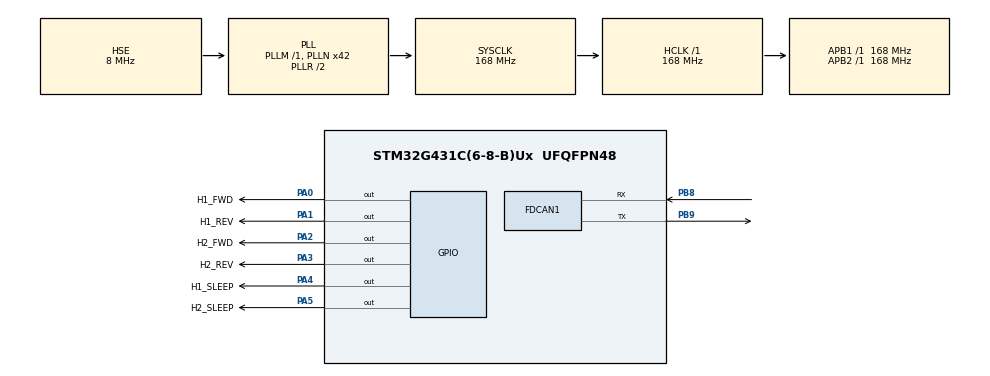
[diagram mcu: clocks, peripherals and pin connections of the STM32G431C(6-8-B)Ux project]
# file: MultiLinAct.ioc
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FDCAN1.CalculateBaudRateNominal=3500000
FDCAN1.CalculateTimeBitNominal=285
FDCAN1.CalculateTimeQuantumNominal=95.23809523809524
Mcu.Family=STM32G4
Mcu.Name=STM32G431C(6-8-B)Ux
Mcu.Package=UFQFPN48
NVIC.PriorityGroup=NVIC_PRIORITYGROUP_4
PA0.GPIO_Label=H1_FWD
PA0.Signal=GPIO_Output
PA1.GPIO_Label=H1_REV
PA1.Signal=GPIO_Output
PA13.Mode=Trace_Asynchronous_SW
PA13.Signal=SYS_JTMS-SWDIO
PA14.Mode=Trace_Asynchronous_SW
PA14.Signal=SYS_JTCK-SWCLK
PA2.GPIO_Label=H2_FWD
PA2.Signal=GPIO_Output
PA3.GPIO_Label=H2_REV
PA3.Signal=GPIO_Output
PA4.GPIO_Label=H1_SLEEP
PA4.Signal=GPIO_Output
PA5.GPIO_Label=H2_SLEEP
PA5.Signal=GPIO_Output
PB3.Mode=Trace_Asynchronous_SW
PB3.Signal=SYS_JTDO-SWO
PB8-BOOT0.Mode=FDCAN_Activate
PB8-BOOT0.Signal=FDCAN1_RX
PB9.Mode=FDCAN_Activate
PB9.Signal=FDCAN1_TX
PF0-OSC_IN.Mode=HSE-External-Oscillator
PF0-OSC_IN.Signal=RCC_OSC_IN
PF1-OSC_OUT.Mode=HSE-External-Oscillator
PF1-OSC_OUT.Signal=RCC_OSC_OUT
ProjectManager.HeapSize=0x200
ProjectManager.StackSize=0x400
ProjectManager.TargetToolchain=STM32CubeIDE
RCC.ADC12Freq_Value=168000000
RCC.AHBFreq_Value=168000000
RCC.APB1Freq_Value=168000000
RCC.APB1TimFreq_Value=168000000
RCC.APB2Freq_Value=168000000
RCC.APB2TimFreq_Value=168000000
RCC.CK48CLockSelection=RCC_USBCLKSOURCE_HSI48
RCC.CortexFreq_Value=168000000
RCC.EXTERNAL_CLOCK_VALUE=12288000
RCC.HCLKFreq_Value=168000000
RCC.HSE_VALUE=8000000
RCC.HSI48_VALUE=48000000
RCC.HSI_VALUE=16000000
RCC.LSE_VALUE=32768
RCC.PLLN=42
RCC.PLLSourceVirtual=RCC_PLLSOURCE_HSE
RCC.SYSCLKFreq_VALUE=168000000
RCC.SYSCLKSource=RCC_SYSCLKSOURCE_PLLCLK
RCC.USBFreq_Value=48000000
RCC.VCOOutputFreq_Value=336000000
TIM2.PeriodNoDither=8499
VP_SYS_VS_DBSignals.Mode=DisableDeadBatterySignals
VP_TIM2_VS_ClockSourceINT.Mode=Internal
board=custom

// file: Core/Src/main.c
/* USER CODE BEGIN Header */
/**
  ******************************************************************************
  * @file           : main.c
  * @brief          : Stewart Platform ECU - Controls 2 linear actuators via GPIO
  *                   Communicates over CAN (ID 0x100 commands, 0x101 status)
  ******************************************************************************
*/
/* USER CODE END Header */
#include "main.h"
#include "usb_device.h"

/* USER CODE BEGIN Includes */
#include <stdbool.h>
#include "usbd_cdc_if.h"
#include <stdarg.h>
#include <string.h>

static void debug_printf(const char *fmt, ...)
{
    char buf[256];

    va_list args;
    va_start(args, fmt);
    int len = vsnprintf(buf, sizeof(buf), fmt, args);
    va_end(args);

    if (len <= 0) return;
    if (len > sizeof(buf)) len = sizeof(buf);

    CDC_Transmit_FS((uint8_t*)buf, len);
}

/* USER CODE END Includes */

/* USER CODE BEGIN PTD */

typedef struct {
    int8_t   dir;          // -1 = retract, +1 = extend, 0 = no move
    uint32_t duration_ms;
} MoveCmd_t;

/* USER CODE END PTD */

FDCAN_HandleTypeDef hfdcan1;

TIM_HandleTypeDef htim2;

/* USER CODE BEGIN PV */

MoveCmd_t cmd[2] = {{0,0}, {0,0}};
volatile bool prepared = false;
volatile bool motion_active = false;
uint32_t motion_start_tick = 0;

// CAN TX helper
FDCAN_TxHeaderTypeDef TxHeader;
uint8_t txData[8];

/* USER CODE END PV */

void SystemClock_Config(void);
static void MX_GPIO_Init(void);
static void MX_FDCAN1_Init(void);
static void MX_TIM2_Init(void);
/* USER CODE BEGIN PFP */

typedef enum {
    MOTOR_STATE_COAST,
    MOTOR_STATE_FORWARD,
    MOTOR_STATE_REVERSE,
    MOTOR_STATE_BRAKE
} Motor_State_t;

void Motor1_Control(Motor_State_t state);
void Motor2_Control(Motor_State_t state);
void Motor1_Sleep(uint8_t sleep);
void Motor2_Sleep(uint8_t sleep);
void SendStatus(uint8_t code);

/* USER CODE END PFP */

int main(void)
{

  /* MCU Configuration--------------------------------------------------------*/

  /* Reset of all peripherals, Initializes the Flash interface and the Systick. */
  HAL_Init();

  /* Configure the system clock */
  SystemClock_Config();

  /* Initialize all configured peripherals */
  MX_GPIO_Init();
  MX_FDCAN1_Init();
  MX_TIM2_Init();
  MX_USB_Device_Init();
  /* USER CODE BEGIN 2 */

  // Start with drivers asleep and coasting
  Motor1_Sleep(1);
  Motor2_Sleep(1);

  // Start FDCAN and enable RX FIFO0 new message interrupt
  if (HAL_FDCAN_Start(&hfdcan1) != HAL_OK)
  {
      Error_Handler();
  }

  debug_printf("FDCAN1 started\r\n");

  if (HAL_FDCAN_ActivateNotification(&hfdcan1,
                                     FDCAN_IT_RX_FIFO0_NEW_MESSAGE,
                                     0) != HAL_OK)
  {
      Error_Handler();
  }

  debug_printf("FDCAN1 RX FIFO0 interrupt enabled\r\n");

  /* USER CODE END 2 */

  /* Infinite loop */
  /* USER CODE BEGIN WHILE */
  while (1)
  {
	// ======= NEW: Poll CAN RX FIFO0 for commands =======
	uint32_t fillLevel = HAL_FDCAN_GetRxFifoFillLevel(&hfdcan1, FDCAN_RX_FIFO0);
	if (fillLevel > 0)
	{
	  FDCAN_RxHeaderTypeDef RxHeader;
	  uint8_t rxData[8];

	  if (HAL_FDCAN_GetRxMessage(&hfdcan1, FDCAN_RX_FIFO0, &RxHeader, rxData) == HAL_OK)
	  {
		  // 🔹 NEW: compute DLC once, and log what we actually received
		  uint32_t dlc_bytes = RxHeader.DataLength >> 16;

		  debug_printf("[CAN] RX ID=0x%03lX, IdType=%lu, FrameType=%lu, DLC=%lu\r\n",
					   RxHeader.Identifier,
					   (unsigned long)RxHeader.IdType,
					   (unsigned long)RxHeader.RxFrameType,
					   dlc_bytes);

		  debug_printf("[CAN] Data bytes:");
		  for (uint32_t i = 0; i < 8; i++)    // log all 8 slots
		  {
			  char tmp[8];
			  snprintf(tmp, sizeof(tmp), " %02X", rxData[i]);
			  debug_printf("%s", tmp);
		  }
		  debug_printf("\r\n");

		  // Only handle standard data frames on ID 0x100
		  // ===================== CAN RX =====================
		  if (RxHeader.IdType == FDCAN_STANDARD_ID &&
		      RxHeader.RxFrameType == FDCAN_DATA_FRAME &&
		      RxHeader.Identifier == 0x100)
		  {
		      uint32_t dlc_bytes_inner = RxHeader.DataLength >> 16;

		      debug_printf("[CAN] RX ID=0x%03lX, DLC=%lu\r\n",
		                   RxHeader.Identifier, dlc_bytes_inner);

		      debug_printf("[CAN] Data bytes:");
		      for (int i = 0; i < 8; i++) {
		          char tmp[8];
		          snprintf(tmp, sizeof(tmp), " %02X", rxData[i]);
		          debug_printf("%s", tmp);
		      }
		      debug_printf("\r\n");

		      // ======= START command (first byte = 0xFF) =======
		      if (rxData[0] == 0xFF)
		      {
		          debug_printf("[START] received, prepared=%d\r\n",
		                       prepared ? 1 : 0);

		          if (prepared)
		          {
		              Motor1_Sleep(0);
		              Motor2_Sleep(0);

		              // Motor 1 direction
		              if (cmd[0].dir > 0)
		                  Motor1_Control(MOTOR_STATE_FORWARD);
		              else if (cmd[0].dir < 0)
		                  Motor1_Control(MOTOR_STATE_REVERSE);
		              else
		                  Motor1_Control(MOTOR_STATE_COAST);

		              // Motor 2 direction
		              if (cmd[1].dir > 0)
		                  Motor2_Control(MOTOR_STATE_FORWARD);
		              else if (cmd[1].dir < 0)
		                  Motor2_Control(MOTOR_STATE_REVERSE);
		              else
		                  Motor2_Control(MOTOR_STATE_COAST);

		              if (cmd[0].duration_ms == 0 && cmd[1].duration_ms == 0)
		              {
		                  debug_printf("[START] Zero durations, immediately DONE\r\n");

		                  Motor1_Sleep(1);
		                  Motor2_Sleep(1);
		                  prepared      = false;
		                  motion_active = false;

		                  SendStatus(0x03); // DONE
		              }
		              else
		              {
		                  motion_start_tick = HAL_GetTick();
		                  motion_active     = true;

		                  debug_printf("[START] Motion active: t1=%lu t2=%lu\r\n",
		                               (unsigned long)cmd[0].duration_ms,
		                               (unsigned long)cmd[1].duration_ms);

		                  SendStatus(0x02); // MOVING
		              }
		          }
		          else
		          {
		              debug_printf("[START] Ignored because not prepared\r\n");
		          }
		      }
		      // ======= PREPARE command (first byte != 0xFF) =======
		      else
		      {
		          int8_t d1 = 0;
		          int8_t d2 = 0;

		          // decode dir1
		          switch (rxData[0]) {
		              case 0x01: d1 = +1; break;  // extend
		              case 0x02: d1 = -1; break;  // retract
		              default:   d1 =  0; break;  // stop / unknown
		          }

		          // decode dir2
		          switch (rxData[1]) {
		              case 0x01: d2 = +1; break;  // extend
		              case 0x02: d2 = -1; break;  // retract
		              default:   d2 =  0; break;
		          }

		          uint16_t t1 = (uint16_t)rxData[2] | ((uint16_t)rxData[3] << 8);
		          uint16_t t2 = (uint16_t)rxData[4] | ((uint16_t)rxData[5] << 8);

		          cmd[0].dir         = d1;
		          cmd[0].duration_ms = t1;
		          cmd[1].dir         = d2;
		          cmd[1].duration_ms = t2;

		          prepared      = true;
		          motion_active = false;

		          debug_printf("[PREPARE] d1=%d d2=%d t1=%u t2=%u\r\n",
		                       d1, d2, t1, t2);

		          SendStatus(0x01);  // PREPARED
		      }
		  }
	  }
	}

	if (motion_active)
	{
		uint32_t elapsed = HAL_GetTick() - motion_start_tick;

		if (cmd[0].duration_ms > 0 && elapsed >= cmd[0].duration_ms)
			Motor1_Control(MOTOR_STATE_COAST);

		if (cmd[1].duration_ms > 0 && elapsed >= cmd[1].duration_ms)
			Motor2_Control(MOTOR_STATE_COAST);

		bool all_done = (cmd[0].duration_ms == 0 || elapsed >= cmd[0].duration_ms) &&
						(cmd[1].duration_ms == 0 || elapsed >= cmd[1].duration_ms);

		if (all_done || elapsed > 10000)  // 10s safety timeout
		{
			motion_active = false;
			prepared      = false;

			SendStatus(0x03); // DONE

			Motor1_Sleep(1);
			Motor2_Sleep(1);
		}
	}
    /* USER CODE END WHILE */

  }
}

void SystemClock_Config(void)
{
  RCC_OscInitTypeDef RCC_OscInitStruct = {0};
  RCC_ClkInitTypeDef RCC_ClkInitStruct = {0};

  /** Configure the main internal regulator output voltage
  */
  HAL_PWREx_ControlVoltageScaling(PWR_REGULATOR_VOLTAGE_SCALE1_BOOST);

  /** Initializes the RCC Oscillators according to the specified parameters
  * in the RCC_OscInitTypeDef structure.
  */
  RCC_OscInitStruct.OscillatorType = RCC_OSCILLATORTYPE_HSI48|RCC_OSCILLATORTYPE_HSE;
  RCC_OscInitStruct.HSEState = RCC_HSE_ON;
  RCC_OscInitStruct.HSI48State = RCC_HSI48_ON;
  RCC_OscInitStruct.PLL.PLLState = RCC_PLL_ON;
  RCC_OscInitStruct.PLL.PLLSource = RCC_PLLSOURCE_HSE;
  RCC_OscInitStruct.PLL.PLLM = RCC_PLLM_DIV1;
  RCC_OscInitStruct.PLL.PLLN = 42;
  RCC_OscInitStruct.PLL.PLLP = RCC_PLLP_DIV2;
  RCC_OscInitStruct.PLL.PLLQ = RCC_PLLQ_DIV2;
  RCC_OscInitStruct.PLL.PLLR = RCC_PLLR_DIV2;
  if (HAL_RCC_OscConfig(&RCC_OscInitStruct) != HAL_OK)
  {
    Error_Handler();
  }

  /** Initializes the CPU, AHB and APB buses clocks
  */
  RCC_ClkInitStruct.ClockType = RCC_CLOCKTYPE_HCLK|RCC_CLOCKTYPE_SYSCLK
                              |RCC_CLOCKTYPE_PCLK1|RCC_CLOCKTYPE_PCLK2;
  RCC_ClkInitStruct.SYSCLKSource = RCC_SYSCLKSOURCE_PLLCLK;
  RCC_ClkInitStruct.AHBCLKDivider = RCC_SYSCLK_DIV1;
  RCC_ClkInitStruct.APB1CLKDivider = RCC_HCLK_DIV1;
  RCC_ClkInitStruct.APB2CLKDivider = RCC_HCLK_DIV1;

  if (HAL_RCC_ClockConfig(&RCC_ClkInitStruct, FLASH_LATENCY_4) != HAL_OK)
  {
    Error_Handler();
  }
}

static void MX_FDCAN1_Init(void)
{

  hfdcan1.Instance = FDCAN1;
  hfdcan1.Init.ClockDivider = FDCAN_CLOCK_DIV1;
  hfdcan1.Init.FrameFormat = FDCAN_FRAME_CLASSIC;
  hfdcan1.Init.Mode = FDCAN_MODE_NORMAL;
  hfdcan1.Init.AutoRetransmission = ENABLE;
  hfdcan1.Init.TransmitPause = DISABLE;
  hfdcan1.Init.ProtocolException = DISABLE;
  hfdcan1.Init.NominalPrescaler = 84;
  hfdcan1.Init.NominalSyncJumpWidth = 1;
  hfdcan1.Init.NominalTimeSeg1 = 15;
  hfdcan1.Init.NominalTimeSeg2 = 4;
  hfdcan1.Init.DataPrescaler = 1;
  hfdcan1.Init.DataSyncJumpWidth = 1;
  hfdcan1.Init.DataTimeSeg1 = 1;
  hfdcan1.Init.DataTimeSeg2 = 1;
  hfdcan1.Init.StdFiltersNbr = 1;
  hfdcan1.Init.ExtFiltersNbr = 0;
  hfdcan1.Init.TxFifoQueueMode = FDCAN_TX_FIFO_OPERATION;
  if (HAL_FDCAN_Init(&hfdcan1) != HAL_OK)
  {
    Error_Handler();
  }
  /* USER CODE BEGIN FDCAN1_Init 2 */
  // Configure a standard ID filter to accept ID 0x100 into RX FIFO 0
  FDCAN_FilterTypeDef sFilterConfig = {0};
  sFilterConfig.IdType       = FDCAN_STANDARD_ID;
  sFilterConfig.FilterIndex  = 0;
  sFilterConfig.FilterType   = FDCAN_FILTER_MASK;
  sFilterConfig.FilterConfig = FDCAN_FILTER_TO_RXFIFO0;
  sFilterConfig.FilterID1    = 0x000;  // ID to match
  sFilterConfig.FilterID2    = 0x000;  // mask: accept only 0x100

  if (HAL_FDCAN_ConfigFilter(&hfdcan1, &sFilterConfig) != HAL_OK)
  {
      Error_Handler();
  }

  debug_printf("Filter installed: ID=0x100 -> FIFO0\r\n");

  // Enable FDCAN1 interrupt line 0 in NVIC
  HAL_NVIC_SetPriority(FDCAN1_IT0_IRQn, 0, 0);
  HAL_NVIC_EnableIRQ(FDCAN1_IT0_IRQn);

  /* USER CODE END FDCAN1_Init 2 */

}

static void MX_TIM2_Init(void)
{

  TIM_ClockConfigTypeDef sClockSourceConfig = {0};
  TIM_MasterConfigTypeDef sMasterConfig = {0};

  htim2.Instance = TIM2;
  htim2.Init.Prescaler = 0;
  htim2.Init.CounterMode = TIM_COUNTERMODE_UP;
  htim2.Init.Period = 8499;
  htim2.Init.ClockDivision = TIM_CLOCKDIVISION_DIV1;
  htim2.Init.AutoReloadPreload = TIM_AUTORELOAD_PRELOAD_DISABLE;
  if (HAL_TIM_Base_Init(&htim2) != HAL_OK)
  {
    Error_Handler();
  }
  sClockSourceConfig.ClockSource = TIM_CLOCKSOURCE_INTERNAL;
  if (HAL_TIM_ConfigClockSource(&htim2, &sClockSourceConfig) != HAL_OK)
  {
    Error_Handler();
  }
  sMasterConfig.MasterOutputTrigger = TIM_TRGO_RESET;
  sMasterConfig.MasterSlaveMode = TIM_MASTERSLAVEMODE_DISABLE;
  if (HAL_TIMEx_MasterConfigSynchronization(&htim2, &sMasterConfig) != HAL_OK)
  {
    Error_Handler();
  }

}

static void MX_GPIO_Init(void)
{
  GPIO_InitTypeDef GPIO_InitStruct = {0};

  /* GPIO Ports Clock Enable */
  __HAL_RCC_GPIOF_CLK_ENABLE();
  __HAL_RCC_GPIOA_CLK_ENABLE();
  __HAL_RCC_GPIOB_CLK_ENABLE();

  /*Configure GPIO pin Output Level */
  HAL_GPIO_WritePin(GPIOA, H1_FWD_Pin|H1_REV_Pin|H2_FWD_Pin|H2_REV_Pin
                          |H1_SLEEP_Pin|H2_SLEEP_Pin, GPIO_PIN_RESET);

  /*Configure GPIO pins : H1_FWD_Pin H1_REV_Pin H2_FWD_Pin H2_REV_Pin
                           H1_SLEEP_Pin H2_SLEEP_Pin */
  GPIO_InitStruct.Pin = H1_FWD_Pin|H1_REV_Pin|H2_FWD_Pin|H2_REV_Pin
                          |H1_SLEEP_Pin|H2_SLEEP_Pin;
  GPIO_InitStruct.Mode = GPIO_MODE_OUTPUT_PP;
  GPIO_InitStruct.Pull = GPIO_NOPULL;
  GPIO_InitStruct.Speed = GPIO_SPEED_FREQ_LOW;
  HAL_GPIO_Init(GPIOA, &GPIO_InitStruct);

}

/* USER CODE BEGIN 4 */

void Motor1_Control(Motor_State_t state)
{
    switch (state)
    {
        case MOTOR_STATE_FORWARD:
            HAL_GPIO_WritePin(H1_FWD_GPIO_Port, H1_FWD_Pin, GPIO_PIN_SET);
            HAL_GPIO_WritePin(H1_REV_GPIO_Port, H1_REV_Pin, GPIO_PIN_RESET);
            break;
        case MOTOR_STATE_REVERSE:
            HAL_GPIO_WritePin(H1_FWD_GPIO_Port, H1_FWD_Pin, GPIO_PIN_RESET);
            HAL_GPIO_WritePin(H1_REV_GPIO_Port, H1_REV_Pin, GPIO_PIN_SET);
            break;
        case MOTOR_STATE_BRAKE:
            HAL_GPIO_WritePin(H1_FWD_GPIO_Port, H1_FWD_Pin, GPIO_PIN_SET);
            HAL_GPIO_WritePin(H1_REV_GPIO_Port, H1_REV_Pin, GPIO_PIN_SET);
            break;
        default: // COAST
            HAL_GPIO_WritePin(H1_FWD_GPIO_Port, H1_FWD_Pin, GPIO_PIN_RESET);
            HAL_GPIO_WritePin(H1_REV_GPIO_Port, H1_REV_Pin, GPIO_PIN_RESET);
            break;
    }
}

void Motor2_Control(Motor_State_t state)
{
    switch (state)
    {
        case MOTOR_STATE_FORWARD:
            HAL_GPIO_WritePin(H2_FWD_GPIO_Port, H2_FWD_Pin, GPIO_PIN_SET);
            HAL_GPIO_WritePin(H2_REV_GPIO_Port, H2_REV_Pin, GPIO_PIN_RESET);
            break;
        case MOTOR_STATE_REVERSE:
            HAL_GPIO_WritePin(H2_FWD_GPIO_Port, H2_FWD_Pin, GPIO_PIN_RESET);
            HAL_GPIO_WritePin(H2_REV_GPIO_Port, H2_REV_Pin, GPIO_PIN_SET);
            break;
        case MOTOR_STATE_BRAKE:
            HAL_GPIO_WritePin(H2_FWD_GPIO_Port, H2_FWD_Pin, GPIO_PIN_SET);
            HAL_GPIO_WritePin(H2_REV_GPIO_Port, H2_REV_Pin, GPIO_PIN_SET);
            break;
        default: // COAST
            HAL_GPIO_WritePin(H2_FWD_GPIO_Port, H2_FWD_Pin, GPIO_PIN_RESET);
            HAL_GPIO_WritePin(H2_REV_GPIO_Port, H2_REV_Pin, GPIO_PIN_RESET);
            break;
    }
}

void Motor1_Sleep(uint8_t sleep)
{
    HAL_GPIO_WritePin(H1_SLEEP_GPIO_Port, H1_SLEEP_Pin,
                      sleep ? GPIO_PIN_RESET : GPIO_PIN_SET);
}

void Motor2_Sleep(uint8_t sleep)
{
    HAL_GPIO_WritePin(H2_SLEEP_GPIO_Port, H2_SLEEP_Pin,
                      sleep ? GPIO_PIN_RESET : GPIO_PIN_SET);
}

//void SendStatus(uint8_t code)
//{
//    TxHeader.Identifier          = 0x101;
//    TxHeader.IdType              = FDCAN_STANDARD_ID;
//    TxHeader.TxFrameType         = FDCAN_DATA_FRAME;
//    TxHeader.DataLength          = FDCAN_DLC_BYTES_1;
//    TxHeader.ErrorStateIndicator = FDCAN_ESI_ACTIVE;
//    TxHeader.BitRateSwitch       = FDCAN_BRS_OFF;
//    TxHeader.FDFormat            = FDCAN_CLASSIC_CAN;
//    TxHeader.TxEventFifoControl  = FDCAN_NO_TX_EVENTS;
//    TxHeader.MessageMarker       = 0;
//
//    txData[0] = code;
//
//    HAL_FDCAN_AddMessageToTxFifoQ(&hfdcan1, &TxHeader, txData);
//}

void SendStatus(uint8_t code)
{
    TxHeader.Identifier          = 0x101;              // status ID
    TxHeader.IdType              = FDCAN_STANDARD_ID;
    TxHeader.TxFrameType         = FDCAN_DATA_FRAME;
    TxHeader.DataLength          = FDCAN_DLC_BYTES_1;  // 1-byte payload
    TxHeader.ErrorStateIndicator = FDCAN_ESI_ACTIVE;
    TxHeader.BitRateSwitch       = FDCAN_BRS_OFF;
    TxHeader.FDFormat            = FDCAN_CLASSIC_CAN;
    TxHeader.TxEventFifoControl  = FDCAN_NO_TX_EVENTS;
    TxHeader.MessageMarker       = 0;

    txData[0] = code;

    HAL_StatusTypeDef st =
        HAL_FDCAN_AddMessageToTxFifoQ(&hfdcan1, &TxHeader, txData);

    debug_printf("[STATUS] code=0x%02X, HAL_FDCAN_AddMessageToTxFifoQ=%d\r\n",
                 code, (int)st);
}

/* USER CODE END 4 */

void Error_Handler(void)
{
  __disable_irq();
  while (1)
  {
  }
}
